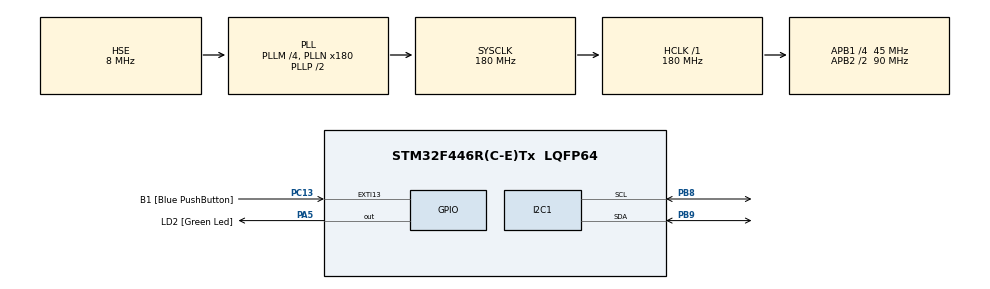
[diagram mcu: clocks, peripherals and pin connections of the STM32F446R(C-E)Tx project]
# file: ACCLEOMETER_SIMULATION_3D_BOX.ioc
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FREERTOS.Tasks01=thread_sensors,2,512,thread_sensors_func,Default,NULL,Dynamic,NULL,NULL;thread_lcd,-2,512,thread_lcd_func,Default,NULL,Dynamic,NULL,NULL;thread_bt,0,128,thread_bt_func,Default,NULL,Dynamic,NULL,NULL
FREERTOS.configUSE_MALLOC_FAILED_HOOK=1
I2C1.I2C_Mode=I2C_Fast
Mcu.Family=STM32F4
Mcu.Name=STM32F446R(C-E)Tx
Mcu.Package=LQFP64
NVIC.PriorityGroup=NVIC_PRIORITYGROUP_4
NVIC.TIM6_DAC_IRQn=true\:0\:0\:false\:false\:true\:false\:false\:true
NVIC.TimeBase=TIM6_DAC_IRQn
NVIC.TimeBaseIP=TIM6
PA13.GPIO_Label=TMS
PA13.Mode=Serial_Wire
PA13.Signal=SYS_JTMS-SWDIO
PA14.GPIO_Label=TCK
PA14.Mode=Serial_Wire
PA14.Signal=SYS_JTCK-SWCLK
PA2.GPIO_Label=USART_TX
PA2.Signal=USART2_TX
PA3.GPIO_Label=USART_RX
PA3.Signal=USART2_RX
PA5.GPIO_Label=LD2 [Green Led]
PA5.Signal=GPIO_Output
PB3.GPIO_Label=SWO
PB3.Signal=SYS_JTDO-SWO
PB8.Mode=I2C
PB8.Signal=I2C1_SCL
PB9.Mode=I2C
PB9.Signal=I2C1_SDA
PC13.GPIO_Label=B1 [Blue PushButton]
PC13.GPIO_ModeDefaultEXTI=GPIO_MODE_IT_FALLING
PC13.Signal=GPXTI13
PC14-OSC32_IN.Signal=RCC_OSC32_IN
PC15-OSC32_OUT.Signal=RCC_OSC32_OUT
PH0-OSC_IN.Mode=HSE-External-Clock-Source
PH0-OSC_IN.Signal=RCC_OSC_IN
PH1-OSC_OUT.Mode=HSE-External-Clock-Source
PH1-OSC_OUT.Signal=RCC_OSC_OUT
ProjectManager.HeapSize=0x200
ProjectManager.StackSize=0x400
ProjectManager.TargetToolchain=STM32CubeIDE
RCC.AHBFreq_Value=180000000
RCC.APB1CLKDivider=RCC_HCLK_DIV4
RCC.APB1Freq_Value=45000000
RCC.APB1TimFreq_Value=90000000
RCC.APB2CLKDivider=RCC_HCLK_DIV2
RCC.APB2Freq_Value=90000000
RCC.APB2TimFreq_Value=180000000
RCC.CortexFreq_Value=180000000
RCC.FLatency-AdvancedSettings=FLASH_LATENCY_5
RCC.HCLKFreq_Value=180000000
RCC.HSE_VALUE=8000000
RCC.HSI_VALUE=16000000
RCC.LSE_VALUE=32768
RCC.PLLM=4
RCC.PLLN=180
RCC.PLLSourceVirtual=RCC_PLLSOURCE_HSE
RCC.SYSCLKFreq_VALUE=180000000
RCC.SYSCLKSource=RCC_SYSCLKSOURCE_PLLCLK
RCC.USBFreq_Value=180000000
RCC.VCOOutputFreq_Value=360000000
VP_FREERTOS_VS_CMSIS_V1.Mode=CMSIS_V1
VP_SYS_VS_tim6.Mode=TIM6
board=NUCLEO-F446RE

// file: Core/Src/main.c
/* USER CODE BEGIN Header */
/**
  ******************************************************************************
  * @file           : main.c
  * @brief          : Main program body
  ******************************************************************************
  * @attention
  *
  * <h2><center>&copy; Copyright (c) 2020 STMicroelectronics.
  * All rights reserved.</center></h2>
  *
  * This software component is licensed by ST under BSD 3-Clause license,
  * the "License"; You may not use this file except in compliance with the
  * License. You may obtain a copy of the License at:
  *                        opensource.org/licenses/BSD-3-Clause
  *
  ******************************************************************************
  */
/* USER CODE END Header */

#include "main.h"
#include "cmsis_os.h"
#include "i2c.h"
#include "gpio.h"

void SystemClock_Config(void);
void MX_FREERTOS_Init(void);

int main(void)
{

  /* MCU Configuration--------------------------------------------------------*/

  /* Reset of all peripherals, Initializes the Flash interface and the Systick. */
  HAL_Init();

  /* Configure the system clock */
  SystemClock_Config();

  /* Initialize all configured peripherals */
  MX_GPIO_Init();
  MX_I2C1_Init();

  /* Call init function for freertos objects (in freertos.c) */
  MX_FREERTOS_Init();

  /* Start scheduler */
  osKernelStart();

  /* We should never get here as control is now taken by the scheduler */

  /* Infinite loop */
  while (1)
  {

  }
}

void SystemClock_Config(void)
{
  RCC_OscInitTypeDef RCC_OscInitStruct = {0};
  RCC_ClkInitTypeDef RCC_ClkInitStruct = {0};

  /** Configure the main internal regulator output voltage
  */
  __HAL_RCC_PWR_CLK_ENABLE();
  __HAL_PWR_VOLTAGESCALING_CONFIG(PWR_REGULATOR_VOLTAGE_SCALE1);
  /** Initializes the CPU, AHB and APB busses clocks
  */
  RCC_OscInitStruct.OscillatorType = RCC_OSCILLATORTYPE_HSE;
  RCC_OscInitStruct.HSEState = RCC_HSE_BYPASS;
  RCC_OscInitStruct.PLL.PLLState = RCC_PLL_ON;
  RCC_OscInitStruct.PLL.PLLSource = RCC_PLLSOURCE_HSE;
  RCC_OscInitStruct.PLL.PLLM = 4;
  RCC_OscInitStruct.PLL.PLLN = 180;
  RCC_OscInitStruct.PLL.PLLP = RCC_PLLP_DIV2;
  RCC_OscInitStruct.PLL.PLLQ = 2;
  RCC_OscInitStruct.PLL.PLLR = 2;
  if (HAL_RCC_OscConfig(&RCC_OscInitStruct) != HAL_OK)
  {
    Error_Handler();
  }
  /** Activate the Over-Drive mode
  */
  if (HAL_PWREx_EnableOverDrive() != HAL_OK)
  {
    Error_Handler();
  }
  /** Initializes the CPU, AHB and APB busses clocks
  */
  RCC_ClkInitStruct.ClockType = RCC_CLOCKTYPE_HCLK|RCC_CLOCKTYPE_SYSCLK
                              |RCC_CLOCKTYPE_PCLK1|RCC_CLOCKTYPE_PCLK2;
  RCC_ClkInitStruct.SYSCLKSource = RCC_SYSCLKSOURCE_PLLCLK;
  RCC_ClkInitStruct.AHBCLKDivider = RCC_SYSCLK_DIV1;
  RCC_ClkInitStruct.APB1CLKDivider = RCC_HCLK_DIV4;
  RCC_ClkInitStruct.APB2CLKDivider = RCC_HCLK_DIV2;

  if (HAL_RCC_ClockConfig(&RCC_ClkInitStruct, FLASH_LATENCY_5) != HAL_OK)
  {
    Error_Handler();
  }
}

void HAL_TIM_PeriodElapsedCallback(TIM_HandleTypeDef *htim)
{
  if (htim->Instance == TIM6) {
    HAL_IncTick();
  }
}

void Error_Handler(void)
{
}

/************************ (C) COPYRIGHT STMicroelectronics *****END OF FILE****/

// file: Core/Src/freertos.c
/* USER CODE BEGIN Header */
/**
  ******************************************************************************
  * File Name          : freertos.c
  * Description        : Code for freertos applications
  ******************************************************************************
  * @attention
  *
  * <h2><center>&copy; Copyright (c) 2020 STMicroelectronics.
  * All rights reserved.</center></h2>
  *
  * This software component is licensed by ST under Ultimate Liberty license
  * SLA0044, the "License"; You may not use this file except in compliance with
  * the License. You may obtain a copy of the License at:
  *                             www.st.com/SLA0044
  *
  ******************************************************************************
  */
/* USER CODE END Header */

#include "FreeRTOS.h"
#include "task.h"
#include "main.h"
#include "cmsis_os.h"

/* USER CODE BEGIN Includes */
#include "i2c.h"
#include "mpu.h"
#include "lcd.h"
#include "3DBox.h"
/* USER CODE END Includes */

/* USER CODE BEGIN PTD */
typedef struct {
	float pitch, roll, yaw;
} mpu_data_t;

typedef struct {
	uint32_t cmd;
	uint32_t arg[3];
} bt_data_t;
/* USER CODE END PTD */

/* USER CODE BEGIN Variables */
osMailQId mail_sensorsHandle;
osMailQId mail_cmdHandle;
/* USER CODE END Variables */
osThreadId thread_sensorsHandle;
osThreadId thread_lcdHandle;
osThreadId thread_btHandle;

void thread_sensors_func(void const * argument);
void thread_lcd_func(void const * argument);
void thread_bt_func(void const * argument);

void MX_FREERTOS_Init(void); /* (MISRA C 2004 rule 8.1) */

/* GetIdleTaskMemory prototype (linked to static allocation support) */
void vApplicationGetIdleTaskMemory( StaticTask_t **ppxIdleTaskTCBBuffer, StackType_t **ppxIdleTaskStackBuffer, uint32_t *pulIdleTaskStackSize );

/* Hook prototypes */
void vApplicationMallocFailedHook(void);

/* USER CODE BEGIN 5 */
__weak void vApplicationMallocFailedHook(void)
{
   /* vApplicationMallocFailedHook() will only be called if
   configUSE_MALLOC_FAILED_HOOK is set to 1 in FreeRTOSConfig.h. It is a hook
   function that will get called if a call to pvPortMalloc() fails.
   pvPortMalloc() is called internally by the kernel whenever a task, queue,
   timer or semaphore is created. It is also called by various parts of the
   demo application. If heap_1.c or heap_2.c are used, then the size of the
   heap available to pvPortMalloc() is defined by configTOTAL_HEAP_SIZE in
   FreeRTOSConfig.h, and the xPortGetFreeHeapSize() API function can be used
   to query the size of free heap space that remains (although it does not
   provide information on how the remaining heap might be fragmented). */
}
/* USER CODE END 5 */

/* USER CODE BEGIN GET_IDLE_TASK_MEMORY */
static StaticTask_t xIdleTaskTCBBuffer;
static StackType_t xIdleStack[configMINIMAL_STACK_SIZE];

void vApplicationGetIdleTaskMemory( StaticTask_t **ppxIdleTaskTCBBuffer, StackType_t **ppxIdleTaskStackBuffer, uint32_t *pulIdleTaskStackSize )
{
  *ppxIdleTaskTCBBuffer = &xIdleTaskTCBBuffer;
  *ppxIdleTaskStackBuffer = &xIdleStack[0];
  *pulIdleTaskStackSize = configMINIMAL_STACK_SIZE;
  /* place for user code */
}
/* USER CODE END GET_IDLE_TASK_MEMORY */

void MX_FREERTOS_Init(void) {

  /* USER CODE BEGIN RTOS_QUEUES */
  osMailQDef (mail_sensors, 10, mpu_data_t);  // Declare mail queue
  mail_sensorsHandle = osMailCreate(osMailQ(mail_sensors), NULL);

  osMailQDef (mail_cmd, 10, bt_data_t);  // Declare mail queue
  mail_cmdHandle = osMailCreate(osMailQ(mail_cmd), NULL);
  /* USER CODE END RTOS_QUEUES */

  /* Create the thread(s) */
  /* definition and creation of thread_sensors */
  osThreadDef(thread_sensors, thread_sensors_func, osPriorityHigh, 0, 512);
  thread_sensorsHandle = osThreadCreate(osThread(thread_sensors), NULL);

  /* definition and creation of thread_lcd */
  osThreadDef(thread_lcd, thread_lcd_func, osPriorityLow, 0, 512);
  thread_lcdHandle = osThreadCreate(osThread(thread_lcd), NULL);

  /* definition and creation of thread_bt */
  osThreadDef(thread_bt, thread_bt_func, osPriorityNormal, 0, 128);
  thread_btHandle = osThreadCreate(osThread(thread_bt), NULL);

}

void thread_sensors_func(void const * argument)
{
  /* USER CODE BEGIN thread_sensors_func */
	#define RAD2DEG (180.0f / 3.14159f)
	#define DEG2RAD (3.14159f / 180.0f)

	uint32_t counter = 0;

	/* Variables for all measurements */
	int32_t quat[4] = { };
	uint16_t accScale = 0;
	float gyroScale = 0.f;
	uint8_t morePackets = 0;
	int8_t orientation[] = { 1, 0, 0,
							0, 1, 0,
							0, 0, 1 };
	float qw, qx, qy, qz;
	float dmpPRY[3];	// Angle calculated using DMP

	/* Timestamp & status variables */
	int16_t intStatus;

	/* Start MPU9250 and change settings */
	mpu_i2c_init(&hi2c1);
	if (mpu_init(NULL)) {
		osThreadTerminate(NULL);
	}
	mpu_set_sensors(INV_XYZ_GYRO | INV_XYZ_ACCEL | INV_XYZ_COMPASS);
	mpu_set_sample_rate(400);
	mpu_get_accel_sens(&accScale);
	mpu_get_gyro_sens(&gyroScale);
	mpu_set_lpf(100);

	/* Enable DMP */
	dmp_load_motion_driver_firmware();
	dmp_set_orientation(inv_orientation_matrix_to_scalar(orientation));
	dmp_enable_feature(DMP_FEATURE_6X_LP_QUAT | DMP_FEATURE_GYRO_CAL | DMP_FEATURE_TAP);
	dmp_set_fifo_rate(200);
	mpu_set_dmp_state(1);

  /* Infinite loop */
  for(;;)
  {
	  /* Get current mpu chip status */
		mpu_get_int_status(&intStatus);
		if ((intStatus & MPU_INT_STATUS_DATA_READY) || morePackets > 0) {
			int16_t sensors = 0;
			/* Get quaternion */
			dmp_read_fifo(NULL, NULL, (long *) quat, NULL, &sensors, &morePackets);
			if (sensors & INV_WXYZ_QUAT) {
				qw = inv_q30_to_float(quat[0]);
				qx = inv_q30_to_float(quat[1]);
				qy = inv_q30_to_float(quat[2]);
				qz = inv_q30_to_float(quat[3]);
				if (qw < -1.0f) {
					qw = -1.0f;
				} else if (qw > 1.0f) {
					qw = 1.0f;
				}
				if (qx < -1.0f) {
					qx = -1.0f;
				} else if (qx > 1.0f) {
					qx = 1.0f;
				}
				if (qy < -1.0f) {
					qy = -1.0f;
				} else if (qy > 1.0f) {
					qy = 1.0f;
				}
				if (qz < -1.0f) {
					qz = -1.0f;
				} else if (qz > 1.0f) {
					qz = 1.0f;
				}
				dmpPRY[0] = asinf(-2.0f * (qx*qz - qw*qy));
				dmpPRY[1] = atan2f(qw*qx + qy*qz, 0.5f - qx*qx - qy*qy);
				dmpPRY[2] = atan2f(qx*qy + qw*qz, 0.5f - qy*qy - qz*qz) + 3.14159 / 2;
				counter++;
				/* Send every 8th sample */
				if (counter % 8 == 0) {
					/* Send data to queue */
					mpu_data_t * data = osMailAlloc(mail_sensorsHandle, 5);
					if (data != NULL) {
						data->pitch = dmpPRY[0];
						data->roll = dmpPRY[1];
						data->yaw = dmpPRY[2];
						osMailPut(mail_sensorsHandle, data);
					}
				}
			}
		}
		 osDelay(10);
  }
  /* USER CODE END thread_sensors_func */
}

void thread_lcd_func(void const * argument)
{
  /* USER CODE BEGIN thread_lcd_func */
	osEvent event;
	Object3d__HandleTypeDef box;
	LCD_Init();
	Object3d_InitBox(&box, 120, 80, 10);
  /* Infinite loop */
  for(;;)
  {
	  event = osMailGet(mail_sensorsHandle, 0);
	  if (event.status == osEventMail) {
		  mpu_data_t * data = event.value.p;
		  Object3d_CleanObject(&box);
		  Object3d_SetRotation(&box, data->pitch, data->roll, data->yaw);
		  Object3d_DrawObject(&box);
		  osMailFree(mail_sensorsHandle, data);
	  }
	  osDelay(1);
  }
  /* USER CODE END thread_lcd_func */
}

void thread_bt_func(void const * argument)
{
  for(;;)
  {
    osDelay(1);
  }
}

/************************ (C) COPYRIGHT STMicroelectronics *****END OF FILE****/
